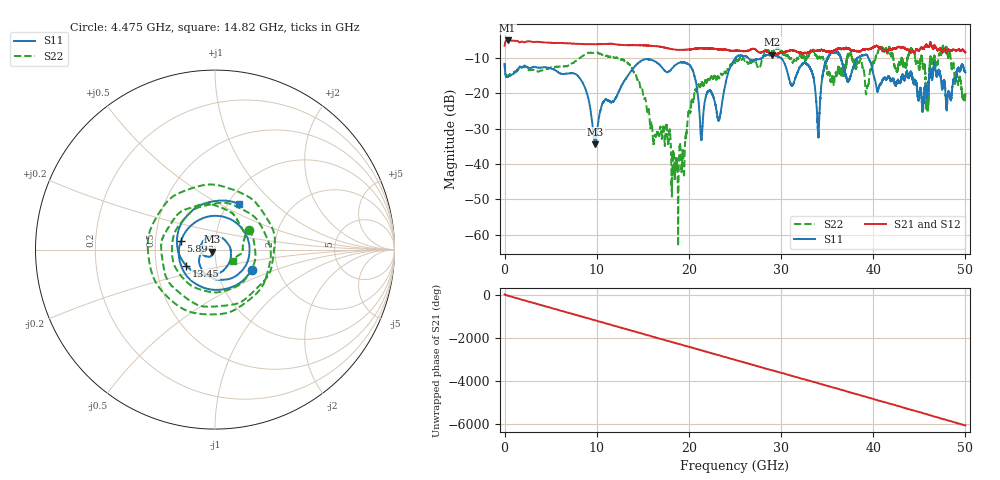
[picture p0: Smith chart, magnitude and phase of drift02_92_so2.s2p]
!Created with skrf (http://scikit-rf.org).
# Hz S RI R 50.0
!freq ReS11 ImS11 ReS21 ImS21 ReS12 ImS12 ReS22 ImS22
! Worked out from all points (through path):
!   10001 points, 300 kHz to 50 GHz, reference 50 ohm
!   highest |S21| = -5.04 dB at 325.3 MHz (marker M1); lowest = -9.0 dB at 29.05 GHz (marker M2)
!   group delay of S21, straight-line fit = 336 ps
!   lowest |S11| = -34.5 dB at 9.84 GHz (marker M3), VSWR 1.04, Z = 48.5 - j1.06 ohm
!   |S11| at or under -10 dB: start of sweep to 25.07 GHz; 29.98 GHz to 35.04 GHz (5.064 GHz wide, 15.6 % of centre); 39.48 GHz to end of sweep (the widest 3 of 12)
!   |S22| runs from -63.2 to -6.5 dB; largest |S21 - S12| = 0.021
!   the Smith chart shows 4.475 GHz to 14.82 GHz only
!   S11 on the Smith chart (normalised r, x): 4.475 GHz: 1.46, -0.35; 5.89 GHz: 0.68, +0.07; 13.45 GHz: 0.71, -0.13; 14.82 GHz: 1.12, +0.62
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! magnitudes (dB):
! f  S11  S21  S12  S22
! 300 kHz  -11.7  -6.5  -6.4  -11.5
! 325.3 MHz  -15.4  -5.0  -5.0  -15.0
! 4.475 GHz  -12.6  -5.6  -5.6  -13.2
! 5.89 GHz  -14.2  -5.7  -5.7  -12.5
! 8.335 GHz  -16.4  -6.0  -6.0  -9.6
! 9.84 GHz  -34.5  -6.1  -6.1  -8.5
! 13.45 GHz  -14.7  -6.4  -6.4  -11.6
! 14.82 GHz  -10.8  -6.4  -6.4  -18.5
! 16.67 GHz  -11.6  -6.7  -6.7  -31.5
! 18.66 GHz  -11.8  -7.7  -7.7  -38.9
! 20.37 GHz  -13.3  -7.5  -7.5  -22.1
! 21.37 GHz  -32.5  -7.2  -7.2  -17.0
! 25 GHz  -10.3  -7.9  -7.9  -11.2
! 29.05 GHz  -9.1  -9.0  -9.0  -8.1
! 33.34 GHz  -14.0  -8.0  -8.1  -8.0
! 34.02 GHz  -32.1  -7.9  -7.9  -10.2
! 35.54 GHz  -8.4  -8.1  -8.1  -15.3
! 41.67 GHz  -15.3  -7.7  -7.8  -7.4
! 44.25 GHz  -16.1  -7.9  -7.9  -7.9
! 45.87 GHz  -20.3  -6.9  -6.9  -23.6
! 47.76 GHz  -17.1  -7.5  -7.5  -7.5
! 50 GHz  -14.1  -8.4  -8.4  -20.0
